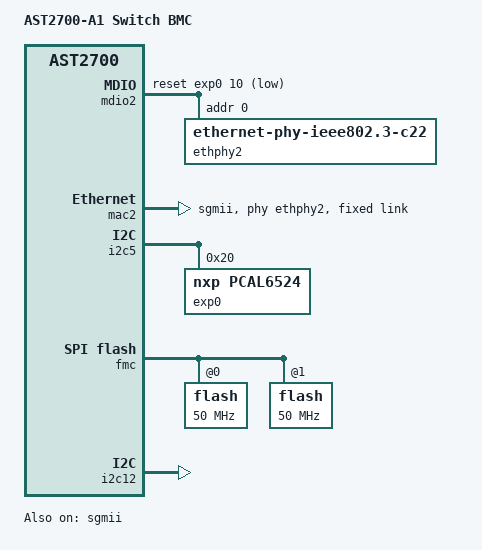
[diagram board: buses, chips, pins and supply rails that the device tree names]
// SPDX-License-Identifier: GPL-2.0+
/dts-v1/;

#include "ast2700-evb.dts"

/ {
	model = "AST2700-A1 Switch BMC";

	aliases {
		ethernet0 = &mac2;  /* Main port with PHY */
	};
};

&mdio0 {
	status = "disabled";
};

&mdio1 {
	status = "disabled";
};

&pcie2 {
	status = "disabled";
};

&mac0 {
	status = "disabled";
};

&mac1 {
	status = "disabled";
};

&mdio2 {
	status = "okay";
	reset-gpios = <&exp0 10 GPIO_ACTIVE_LOW>;
	reset-delay-us = <30000>;
	reset-post-delay-us = <30000>;

	ethphy2: ethernet-phy@0 {
		compatible = "ethernet-phy-ieee802.3-c22";
		reg = <0>;
	};
};

&sgmii {
	status = "okay";
};

&mac2 {
	status = "okay";
	phy-mode = "sgmii";
	phy-handle = <&ethphy2>;
	fixed-link {
		speed = <1000>;
		full-duplex;
	};
};

&i2c5 {
	status = "okay";
	exp0: pcal6524@20 {
		status = "okay";
		compatible = "nxp,pcal6524";
		reg = <0x20>;
		gpio-controller;
		#gpio-cells = <2>;
		#address-cells = <1>;
		#size-cells = <0>;

		gpio-line-names =
			"GP_USB_HUB_RTS_L_R", "FPGA_READY",
			"GP_3V3_BMC_PHY_PG", "GP_PWR_BANK_PWR_KILL_L_R",
			"L_JTAG_LVLSHFTR1_OE1_GPI0_L", "L_JTAG_LVLSHFTR1_OE2_GPI0_L",
			"GP_BMC_FPGA_EROT_FATAL_ERROR_L", "GP_BMC_WP_CTRL_GPIO_L",
			"GP_BMC_FPGA_EROT_RESET_IN_GPIO_L", "GP_BMC_FPGA_EROT_RECOV_GPIO_L",
			"S_BMC_GPIO_PHY_RST_GPIO_L", "GP_JTAG_BMC_CPLD_BURN_EN_L",
			"GP_PWR_BANK_PRESENT_L", "GP_PWR_BANK_PWR_KILL_L",
			"GP_PWR_BANK_MCU_RESET_L", "GP_PWR_BANK_MCU_RECOVERY_L";
	};
};

&fmc {
	status = "okay";
	pinctrl-names = "default";
	pinctrl-0 = <&pinctrl_fwspi_quad_default>;

	flash@0 {
		status = "okay";
		spi-max-frequency = <50000000>;
		spi-tx-bus-width = <4>;
		spi-rx-bus-width = <4>;
	};

	flash@1 {
		status = "okay";
		spi-max-frequency = <50000000>;
		spi-tx-bus-width = <4>;
		spi-rx-bus-width = <4>;
	};
};

&spi0 {
	status = "disabled";
};

&spi1 {
	status = "disabled";
};

&spi2 {
	status = "disabled";
};

&i2c12 {
	status = "okay";
};
